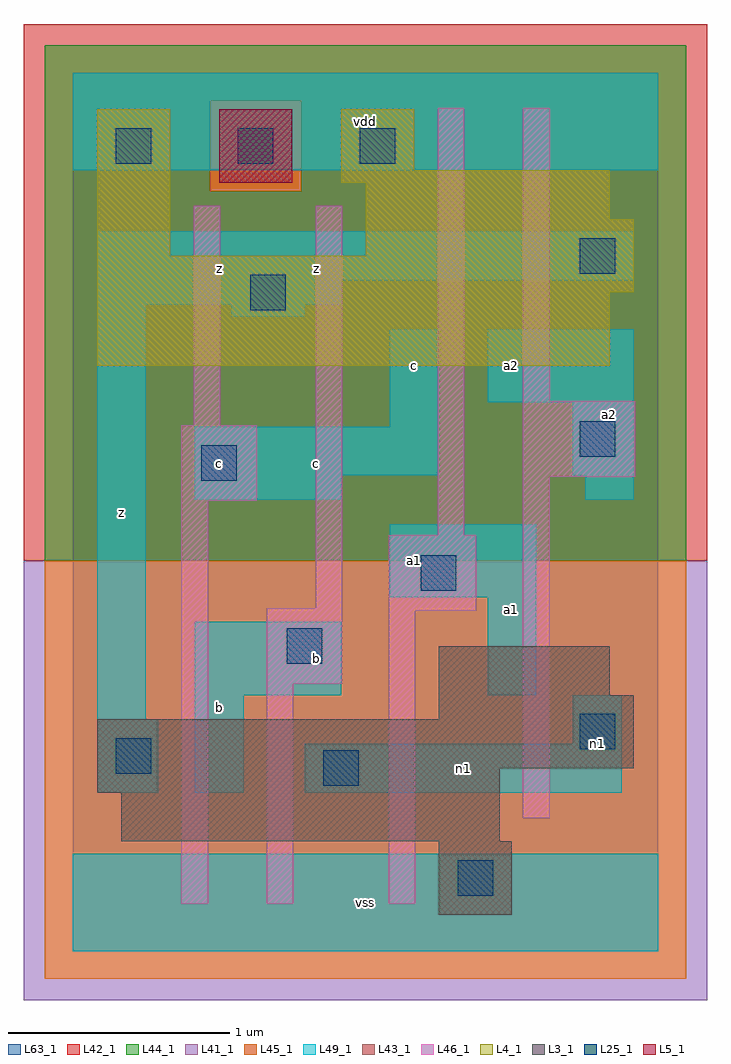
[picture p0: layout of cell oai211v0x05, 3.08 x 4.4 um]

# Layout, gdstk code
import gdstk
lib = gdstk.Library(unit=1e-6, precision=1e-09)
def R(c, l, rs):  # rectangles x0, y0, x1, y1
    for r in rs: c.add(gdstk.rectangle(r[:2], r[2:], *l))
def A(c, l, x, y, w, h, nx, ny, dx, dy):  # array of equal rectangles
    R(c, l, [(x+i*dx, y+j*dy, x+i*dx+w, y+j*dy+h) for i in range(nx) for j in range(ny)])
L3_1 = (3, 1)
L4_1 = (4, 1)
L5_1 = (5, 1)
L25_1 = (25, 1)
L41_1 = (41, 1)
L42_1 = (42, 1)
L43_1 = (43, 1)
L44_1 = (44, 1)
L45_1 = (45, 1)
L46_1 = (46, 1)
L49_1 = (49, 1)
L63_1 = (63, 1)

oai211v0x05 = lib.new_cell('oai211v0x05')
R(oai211v0x05, L3_1, [(1.65,0.165,1.98,0.495), (0.22,0.495,1.925,0.715), (0.11,0.715,1.925,0.825), (0.11,0.825,2.53,1.045), (1.65,1.045,2.53,1.155), (1.65,1.155,2.42,1.375)])
R(oai211v0x05, L4_1, [(0.11,2.64,2.42,2.97), (0.11,2.97,2.53,3.135), (0.11,3.135,0.44,3.795), (1.32,3.135,2.53,3.3), (1.32,3.3,2.42,3.465), (1.21,3.465,2.42,3.52), (1.21,3.52,1.54,3.795)])
R(oai211v0x05, L5_1, [(0.66,3.465,0.99,3.795)])
A(oai211v0x05, L25_1, 0.195, 3.55, 0.16, 0.16, 3, 1, 0.55, 0)
R(oai211v0x05, L25_1, [(1.735,0.25,1.895,0.41), (1.13,0.745,1.29,0.905), (0.195,0.8,0.355,0.96), (2.285,0.91,2.445,1.07), (0.965,1.295,1.125,1.455), (1.57,1.625,1.73,1.785), (0.58,2.12,0.74,2.28), (2.285,2.23,2.445,2.39), (0.8,2.89,0.96,3.05), (2.285,3.055,2.445,3.215)])
R(oai211v0x05, L41_1, [(-0.22,-0.22,2.86,1.76)])
R(oai211v0x05, L42_1, [(-0.22,1.76,2.86,4.18)])
R(oai211v0x05, L43_1, [(1.65,0.165,1.98,0.495), (0.22,0.495,1.925,0.715), (0.11,0.715,1.925,0.825), (0.11,0.825,2.53,1.045), (1.65,1.045,2.53,1.155), (1.65,1.155,2.42,1.375), (0.11,2.64,2.42,2.97), (0.11,2.97,2.53,3.135), (0.11,3.135,0.44,3.795), (1.32,3.135,2.53,3.3), (1.32,3.3,2.42,3.465), (0.66,3.465,0.99,3.795), (1.21,3.465,2.42,3.52), (1.21,3.52,1.54,3.795)])
R(oai211v0x05, L44_1, [(-0.125,1.76,2.765,3.425), (-0.125,3.425,0.62,3.835), (1.03,3.425,2.765,3.835), (-0.125,3.835,2.765,4.085)])
R(oai211v0x05, L45_1, [(-0.125,-0.125,2.765,1.76), (0.62,3.425,1.03,3.835)])
R(oai211v0x05, L46_1, [(0.49,0.215,0.61,2.03), (0.875,0.215,0.995,1.205), (1.425,0.215,1.545,1.535), (2.03,0.6,2.15,2.14), (0.875,1.205,1.215,1.545), (1.425,1.535,1.82,1.875), (1.095,1.545,1.215,3.36), (1.645,1.875,1.765,3.8), (0.49,2.03,0.83,2.37), (2.03,2.14,2.535,2.48), (0.545,2.37,0.665,3.36), (2.03,2.48,2.15,3.8)])
R(oai211v0x05, L49_1, [(0,0,2.64,0.44), (0.11,0.715,0.385,1.045), (0.55,0.715,0.77,1.155), (1.045,0.715,2.475,0.935), (2.255,0.935,2.475,1.155), (0.11,1.045,0.33,2.915), (0.55,1.155,1.21,1.485), (1.87,1.155,2.09,1.595), (1.43,1.595,2.09,1.925), (0.55,2.035,1.21,2.145), (2.31,2.035,2.53,2.145), (0.55,2.145,1.65,2.365), (2.255,2.145,2.53,2.475), (1.43,2.365,1.65,2.805), (1.87,2.475,2.53,2.805), (0.715,2.86,1.045,2.915), (0.11,2.915,1.21,3.025), (0.11,3.025,2.53,3.245), (0,3.52,2.64,3.96)])
R(oai211v0x05, L63_1, [(0,0,2.64,3.96)])
oai211v0x05.add(gdstk.Label('z', (0.22,1.98), layer=49, texttype=1))
oai211v0x05.add(gdstk.Label('b', (0.66,1.1), layer=49, texttype=1))
oai211v0x05.add(gdstk.Label('b', (1.1,1.32), layer=49, texttype=1))
oai211v0x05.add(gdstk.Label('c', (1.1,2.2), layer=49, texttype=1))
oai211v0x05.add(gdstk.Label('c', (0.66,2.2), layer=49, texttype=1))
oai211v0x05.add(gdstk.Label('z', (1.1,3.08), layer=49, texttype=1))
oai211v0x05.add(gdstk.Label('z', (0.66,3.08), layer=49, texttype=1))
oai211v0x05.add(gdstk.Label('vss', (1.32,0.22), layer=49, texttype=1))
oai211v0x05.add(gdstk.Label('a1', (1.54,1.76), layer=49, texttype=1))
oai211v0x05.add(gdstk.Label('c', (1.54,2.64), layer=49, texttype=1))
oai211v0x05.add(gdstk.Label('vdd', (1.32,3.74), layer=49, texttype=1))
oai211v0x05.add(gdstk.Label('n1', (1.76,0.825), layer=49, texttype=1))
oai211v0x05.add(gdstk.Label('n1', (2.365,0.935), layer=49, texttype=1))
oai211v0x05.add(gdstk.Label('a1', (1.98,1.54), layer=49, texttype=1))
oai211v0x05.add(gdstk.Label('a2', (1.98,2.64), layer=49, texttype=1))
oai211v0x05.add(gdstk.Label('a2', (2.42,2.42), layer=49, texttype=1))

lib.write_gds('oai211v0x05.gds')
